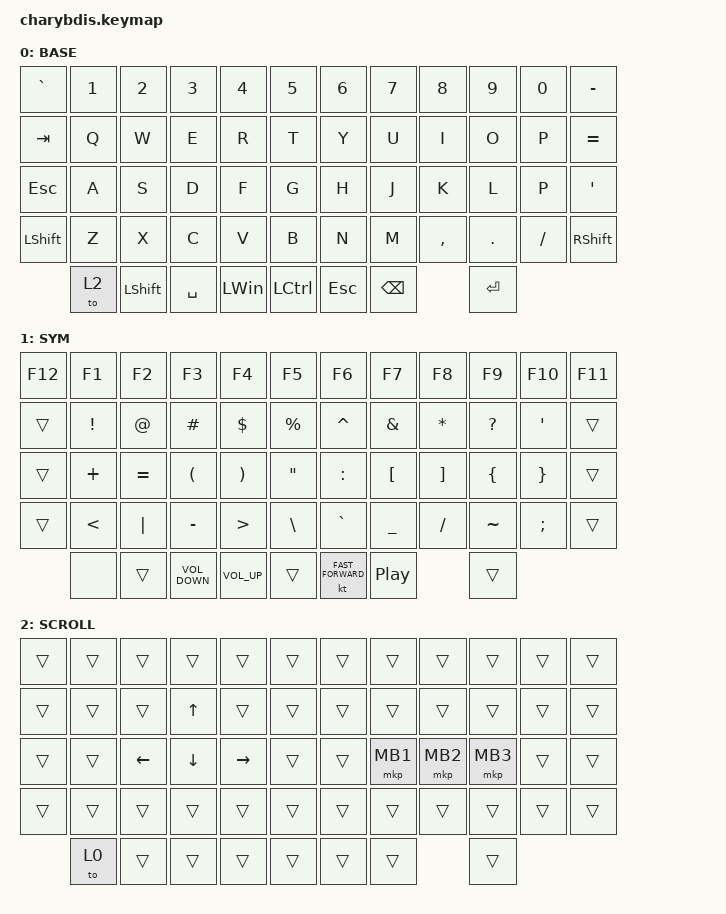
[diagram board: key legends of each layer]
#include <dt-bindings/zmk/mouse.h>
#include <behaviors/mouse_keys.dtsi>
#include <behaviors.dtsi>
#include <dt-bindings/zmk/keys.h>
#include <dt-bindings/zmk/pointing.h>

/ {
    chosen { zmk,matrix_transform = &default_transform; };
};

&mt {
    quick-tap-ms = <200>;
    flavor = "tap-preferred";
    tapping-term-ms = <170>;
};

&lt {
    quick-tap-ms = <200>;
    flavor = "tap-preferred";
    tapping-term-ms = <170>;
};

/ {
    combos {
        compatible = "zmk,combos";

        combo_esc {
            timeout-ms = <50>;
            key-positions = <0 1>;
            bindings = <&kp ESC>;
        };
    };

    keymap {
        compatible = "zmk,keymap";

        BASE {
            bindings = <
&kp GRAVE   &kp N1  &kp N2          &kp N3     &kp N4        &kp N5            &kp N6             &kp N7         &kp N8     &kp N9     &kp N0     &kp MINUS
&kp TAB     &kp Q   &kp W           &kp E      &kp R         &kp T                         &kp Y  &kp U          &kp I      &kp O      &kp P      &kp EQUAL
&kp ESC     &kp A   &kp S           &kp D      &kp F         &kp G                         &kp H  &kp J          &kp K      &kp L      &kp P      &kp APOS
&kp LSHIFT  &kp Z   &kp X           &kp C      &kp V         &kp B                         &kp N  &kp M          &kp COMMA  &kp DOT    &kp SLASH  &kp RSHIFT
            &to 2   &kp LEFT_SHIFT  &kp SPACE  &kp LEFT_WIN  &kp LEFT_CONTROL  &kp ESCAPE         &kp BACKSPACE             &kp ENTER
            >;
        };

        SYM {
            bindings = <
&kp F12  &kp F1         &kp F2     &kp F3             &kp F4            &kp F5         &kp F6                         &kp F7            &kp F8     &kp F9        &kp F10        &kp F11
&trans   &kp EXCL       &kp AT     &kp HASH           &kp DLLR          &kp PRCNT                          &kp CARET  &kp AMPS          &kp STAR   &kp QUESTION  &kp SQT        &trans
&trans   &kp PLUS       &kp EQUAL  &kp LPAR           &kp RPAR          &kp DQT                            &kp COLON  &kp LBKT          &kp RBKT   &kp LBRC      &kp RBRC       &trans
&trans   &kp LESS_THAN  &kp PIPE   &kp MINUS          &kp GREATER_THAN  &kp BACKSLASH                      &kp GRAVE  &kp UNDERSCORE    &kp SLASH  &kp TILDE     &kp SEMICOLON  &trans
         &none          &trans     &kp C_VOLUME_DOWN  &kp C_VOLUME_UP   &trans         &kt C_FAST_FORWARD             &kp C_PLAY_PAUSE             &trans
            >;
        };

        SCROLL {
            bindings = <
&trans  &trans  &trans    &trans    &trans     &trans  &trans          &trans    &trans    &trans    &trans  &trans
&trans  &trans  &trans    &kp UP    &trans     &trans          &trans  &trans    &trans    &trans    &trans  &trans
&trans  &trans  &kp LEFT  &kp DOWN  &kp RIGHT  &trans          &trans  &mkp MB1  &mkp MB2  &mkp MB3  &trans  &trans
&trans  &trans  &trans    &trans    &trans     &trans          &trans  &trans    &trans    &trans    &trans  &trans
        &to 0   &trans    &trans    &trans     &trans  &trans          &trans              &trans
            >;
        };
    };
};
